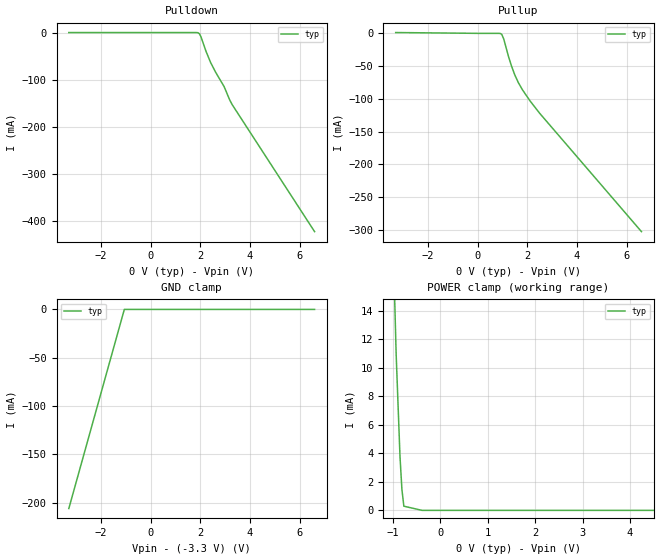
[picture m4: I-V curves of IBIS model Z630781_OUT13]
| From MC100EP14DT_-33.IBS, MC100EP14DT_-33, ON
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| (C) COPYRIGHT 1993-2000
| MENTOR GRAPHICS CORPORATION
| ICX STANDARD LIBRARY, ICX PROJECT MODELING,
| ICX CUSTOM MODELING, ICX VENDOR MODEL
| ALL RIGHTS RESERVED.
| THE FOLLOWING ARE TRADEMARKS OR SERVICE MARKS OF
| MENTOR GRAPHICS CORPORATION:ICX (R), ICX STANDARD
| LIBRARY(R), ICX PROJECT MODELING(R), ICX CUSTOM
| MODELING(R), qualityIBIS(TM), MODELVIEWER(TM),
| AND MODELEDITOR(TM)
| ALL COPIES OF SOFTWARE, INCLUDING BUT NOT LIMITED TO
| ANY MODIFICATIONS, ENHANCEMENTS OR DERIVATIVE WORKS,
| MUST CONTAIN ALL MENTOR GRAPHICS CORPORATION'S
| NOTICES AND LEGENDS, INCLUDING THOSE EMBEDDED IN
| SOFTWARE AND THOSE AFFIXED TO SOFTWARE MEDIUM
| AND CONTAINER, AS RECEIVED FROM MENTOR GRAPHICS
| CORPORATION.
| Model Application Version 1.89 2/18/99.
[Model] Z630781_OUT13
Model_type Output_ECL
Vref=-2.00V
Rref=50.00ohms
Cref=0.000F
Vmeas=-1.420V
C_comp 2.0pF NA NA
| variable typ   min   max
[Voltage Range] -3.300V NA NA
[POWER Clamp Reference] 0.000V NA NA
[Pullup Reference] 0.000V NA NA
[Pulldown Reference] 0.000V NA NA
[GND Clamp Reference] -3.300V NA NA
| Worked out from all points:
|   POWER clamp passes 1 mA (typ) near -0.79 V on its own axis
[GND Clamp]
-3.3V     -205.9mA   NA         NA
-1.064V   0A         NA         NA
6.6V      0A         NA         NA
[Pulldown]
-3.3V     0A         NA         NA
1.82V     0A         NA         NA
1.962V    -2.7mA     NA         NA
2.023V    -8.9mA     NA         NA
2.226V    -39.7mA    NA         NA
2.408V    -63mA      NA         NA
2.611V    -83.8mA    NA         NA
2.956V    -114.5mA   NA         NA
3.178V    -142.4mA   NA         NA
3.28V     -152.6mA   NA         NA
6.6V      -421.5mA   NA         NA
[Pullup]
-3.3V     1.255mA    NA         NA
853mV     0A         NA         NA
974mV     -1.6mA     NA         NA
1.055V    -8.9mA     NA         NA
1.237V    -34.4mA    NA         NA
1.359V    -49.2mA    NA         NA
1.501V    -63.8mA    NA         NA
1.643V    -75.4mA    NA         NA
1.805V    -86.1mA    NA         NA
2.109V    -103mA     NA         NA
2.494V    -121.8mA   NA         NA
6.6V      -302.8mA   NA         NA
[POWER Clamp]
-3.3V     358.9mA    NA         NA
-1.073V   28.48mA    NA         NA
-931mV    10.93mA    NA         NA
-850mV    3.762mA    NA         NA
-810mV    1.477mA    NA         NA
-769mV    292.5uA    NA         NA
-384.5mV  0A         NA         NA
6.6V      0A         NA         NA
[Ramp]
| variable typ min max
dV/dt_r 451.4m/229.4p NA NA
dV/dt_f 451.4m/206.4p NA NA
R_load = 50.00Ohms
